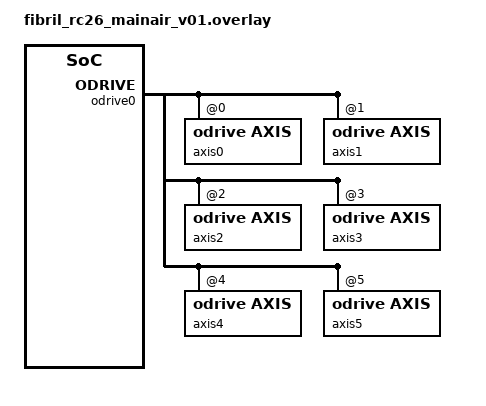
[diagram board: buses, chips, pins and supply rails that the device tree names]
/*
 * Copyright (c) 2026
 * SPDX-License-Identifier: Apache-2.0
 *
 * What RC26's ODrive node drives. The transport snippet decides how it
 * reaches the fibril_can bus, so nothing here mentions that controller.
 *
 * The bus comes from dts/fibril/rc26_mainair_v01/; the axes and their order
 * are said here.
 */

#include <fibril/rc26_mainair_v01/odrive.dtsi>

/* One node schema per image; see doc/apps.md. */
#ifdef FIBRIL_CLAIM_NODE_ROLE
#error "NODE_ROLE claimed twice; rc26-odrive is one claimant"
#endif
#define FIBRIL_CLAIM_NODE_ROLE 1

#ifdef FIBRIL_CLAIM_FCAN_ODRIVE
#error "FCAN_ODRIVE claimed twice; rc26-odrive is one claimant"
#endif
#define FIBRIL_CLAIM_FCAN_ODRIVE 1

/ {
    fcan_odrive: fcan-odrive {
        compatible = "fibril,fcan-odrive";

        /* Becomes motor0..motorN on the ROS side, the adapter's names. */
        fcan-ns = "motor{i}";

        /* R1's steering on 0..3, then its extend on 4 and 5, so the
         * bridge can rename them motor by motor into the adapter's
         * namespaces. */
        axes = <&axis0>, <&axis1>, <&axis2>, <&axis3>, <&axis4>, <&axis5>;
        status = "okay";
    };
};

/* Six ODrives at node_id 0..5 on the one bus, as R1 wired them; odrive.conf
 * raises MOTOR_ODRIVE_MAX_AXES to match. An ODrive not fitted stays
 * NOT_POWERED and publishes zeros; it does not hold up the others. */
&odrive0 {
    axis0: axis@0 {
        compatible = "odrive,axis";
        reg = <0>;
    };

    axis1: axis@1 {
        compatible = "odrive,axis";
        reg = <1>;
    };

    axis2: axis@2 {
        compatible = "odrive,axis";
        reg = <2>;
    };

    axis3: axis@3 {
        compatible = "odrive,axis";
        reg = <3>;
    };

    axis4: axis@4 {
        compatible = "odrive,axis";
        reg = <4>;
    };

    axis5: axis@5 {
        compatible = "odrive,axis";
        reg = <5>;
    };
};
